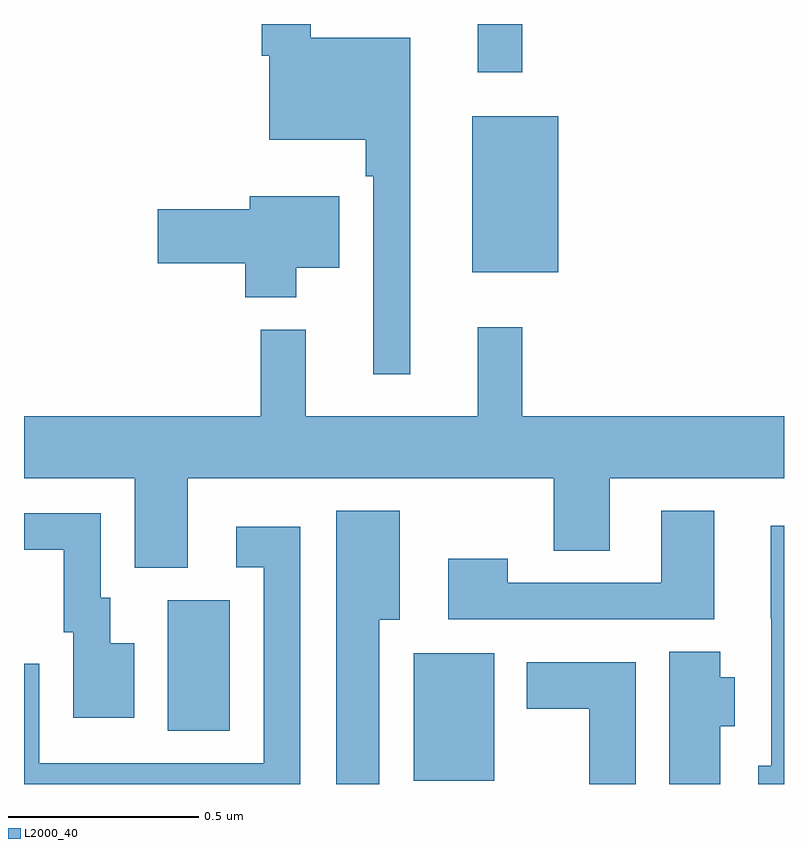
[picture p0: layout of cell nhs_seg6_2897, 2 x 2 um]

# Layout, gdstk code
import gdstk
lib = gdstk.Library(unit=1e-6, precision=1e-09)
def R(c, l, rs):  # rectangles x0, y0, x1, y1
    for r in rs: c.add(gdstk.rectangle(r[:2], r[2:], *l))
def P(c, l, *ps):  # polygons
    for p in ps: c.add(gdstk.Polygon(p, *l))
L2000_40 = (2000, 40)

nhs_seg6_2897 = lib.new_cell('nhs_seg6_2897')
R(nhs_seg6_2897, L2000_40, [(150.026,978.509,150.238,978.844), (149.378,978.64,149.542,978.984), (150.179,979.847,150.406,980.257), (150.194,980.373,150.311,980.5)])
P(nhs_seg6_2897, L2000_40, [(150.016,980.464),(149.755,980.464),(149.755,980.5),(149.626,980.5),(149.626,980.417),(149.646,980.417),(149.646,980.195),(149.899,980.195),(149.899,980.099),(149.919,980.099),(149.919,979.578),(150.016,979.578)],
  [(149.716,979.859),(149.83,979.859),(149.83,980.047),(149.594,980.047),(149.594,980.012),(149.352,980.012),(149.352,979.87),(149.582,979.87),(149.582,979.781),(149.716,979.781)],
  [(149.431,979.304),(150.394,979.304),(150.394,979.114),(150.541,979.114),(150.541,979.304),(151,979.304),(151,979.468),(150.311,979.468),(150.311,979.702),(150.194,979.702),(150.194,979.468),(149.741,979.468),(149.741,979.696),(149.623,979.696),(149.623,979.468),(149,979.468),(149,979.304),(149.291,979.304),(149.291,979.069),(149.431,979.069)],
  [(149.935,978.932),(149.989,978.932),(149.989,979.219),(149.822,979.219),(149.822,978.5),(149.935,978.5)],
  [(150.817,979.219),(150.677,979.219),(150.677,979.029),(150.273,979.029),(150.273,979.093),(150.117,979.093),(150.117,978.933),(150.817,978.933)],
  [(149.29,978.871),(149.227,978.871),(149.227,978.99),(149.202,978.99),(149.202,979.212),(149,979.212),(149,979.116),(149.105,979.116),(149.105,978.9),(149.129,978.9),(149.129,978.675),(149.29,978.675)],
  [(151,979.18),(150.965,979.18),(150.965,978.936),(150.966,978.936),(150.966,978.548),(150.932,978.548),(150.932,978.5),(151,978.5)],
  [(149.727,979.177),(149.559,979.177),(149.559,979.071),(149.631,979.071),(149.631,978.555),(149.04,978.555),(149.04,978.817),(149,978.817),(149,978.5),(149.727,978.5)],
  [(150.832,978.652),(150.871,978.652),(150.871,978.781),(150.832,978.781),(150.832,978.848),(150.698,978.848),(150.698,978.5),(150.832,978.5)],
  [(150.61,978.82),(150.323,978.82),(150.323,978.698),(150.488,978.698),(150.488,978.5),(150.61,978.5)])

lib.write_gds('nhs_seg6_2897.gds')
